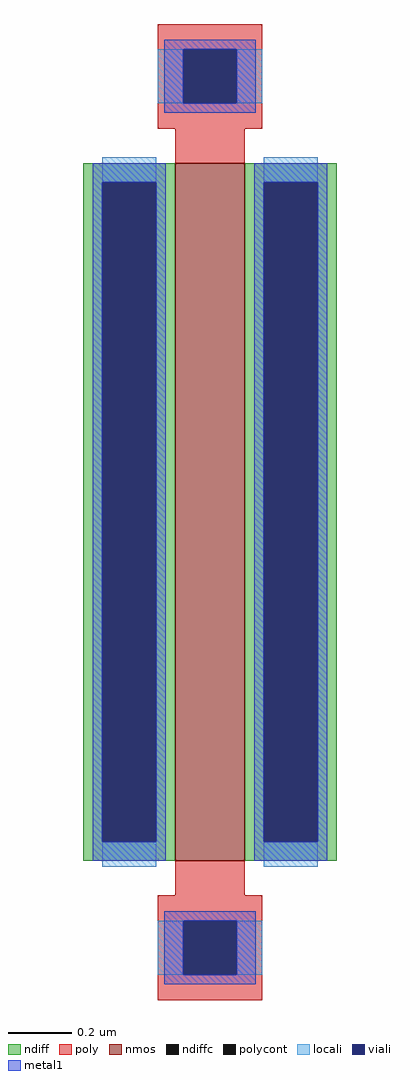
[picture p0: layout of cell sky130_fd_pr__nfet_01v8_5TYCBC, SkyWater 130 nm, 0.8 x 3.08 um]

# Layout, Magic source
magic
tech sky130A
magscale 1 2
<< nmos >>
rect -22 -220 22 220
<< ndiff >>
rect -80 208 -22 220
rect -80 -208 -68 208
rect -34 -208 -22 208
rect -80 -220 -22 -208
rect 22 208 80 220
rect 22 -208 34 208
rect 68 -208 80 208
rect 22 -220 80 -208
<< ndiffc >>
rect -68 -208 -34 208
rect 34 -208 68 208
<< poly >>
rect -33 292 33 308
rect -33 258 -17 292
rect 17 258 33 292
rect -33 242 33 258
rect -22 220 22 242
rect -22 -242 22 -220
rect -33 -258 33 -242
rect -33 -292 -17 -258
rect 17 -292 33 -258
rect -33 -308 33 -292
<< polycont >>
rect -17 258 17 292
rect -17 -292 17 -258
<< locali >>
rect -33 258 -17 292
rect 17 258 33 292
rect -68 208 -34 224
rect -68 -224 -34 -208
rect 34 208 68 224
rect 34 -224 68 -208
rect -33 -292 -17 -258
rect 17 -292 33 -258
<< viali >>
rect -17 258 17 292
rect -68 -208 -34 208
rect 34 -208 68 208
rect -17 -292 17 -258
<< metal1 >>
rect -29 292 29 298
rect -29 258 -17 292
rect 17 258 29 292
rect -29 252 29 258
rect -74 208 -28 220
rect -74 -208 -68 208
rect -34 -208 -28 208
rect -74 -220 -28 -208
rect 28 208 74 220
rect 28 -208 34 208
rect 68 -208 74 208
rect 28 -220 74 -208
rect -29 -258 29 -252
rect -29 -292 -17 -258
rect 17 -292 29 -258
rect -29 -298 29 -292
<< properties >>
string gencell sky130_fd_pr__nfet_01v8
string parameters w 2.2 l 0.22 m 1 nf 1 diffcov 100 polycov 100 guard 0 glc 1 grc 1 gtc 1 gbc 1 tbcov 100 rlcov 100 topc 1 botc 1 poverlap 0 doverlap 1 lmin 0.15 wmin 0.42 compatible {sky130_fd_pr__nfet_01v8 sky130_fd_pr__nfet_01v8_lvt  sky130_fd_bs_flash__special_sonosfet_star  sky130_fd_pr__nfet_g5v0d10v5 sky130_fd_pr__nfet_05v0_nvt} full_metal 1 viasrc 100 viadrn 100 viagate 100 viagb 0 viagr 0 viagl 0 viagt 0
string library sky130
<< end >>
